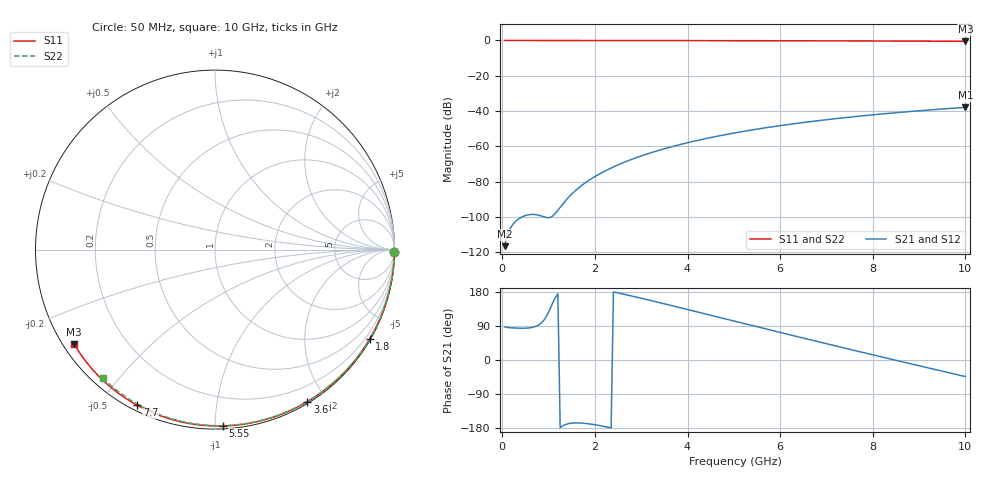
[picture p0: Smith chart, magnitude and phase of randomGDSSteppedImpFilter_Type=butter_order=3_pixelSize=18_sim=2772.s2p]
! freq	dB(S11)	phase(S11)	dB(S12)	phase(S12)
!  dB(S21)	phase(S21)	dB(S22)	phase(S22)
!S-par simulation data
#  GHz  S  DB  R 50
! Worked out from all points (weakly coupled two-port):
!   200 points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, 50 MHz to 10 GHz, reference 50 ohm
!   highest |S21| = -37.91 dB at 10 GHz (marker M1); lowest = -116.6 dB at 50 MHz (marker M2)
!   lowest |S11| = -0.5 dB at 10 GHz (marker M3), VSWR 35.16, Z = 1.55 - j15.2 ohm
!   |S11| at or under -10 dB: nowhere
!   |S22| runs from -0.4 to 0.0 dB; largest |S21 - S12| = 0
!   S11 on the Smith chart (normalised r, x): 50 MHz: open; 1.8 GHz: 0.03, -3.72; 3.6 GHz: 0.02, -1.78; 5.55 GHz: 0.02, -1.05; 7.7 GHz: 0.02, -0.62; 10 GHz: 0.03, -0.30
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0.05  -0.00 -0.9  -116.57 87.5  -116.57 87.5  -0.00 -0.8
0.45  -0.01 -7.6  -99.69 83.8  -99.69 83.8  -0.01 -6.8
0.9  -0.02 -15.2  -99.95 105.5  -99.95 105.5  -0.02 -13.6
1.3  -0.03 -21.9  -92.79 -174.2  -92.79 -174.2  -0.02 -19.5
1.75  -0.04 -29.3  -81.46 -166.8  -81.46 -166.8  -0.03 -26.1
1.8  -0.04 -30.1  -80.51 -167.5  -80.51 -167.5  -0.03 -26.9
1.85  -0.04 -30.9  -79.61 -168.2  -79.61 -168.2  -0.04 -27.6
2.05  -0.04 -34.2  -76.35 -172.0  -76.35 -172.0  -0.04 -30.5
2.2  -0.05 -36.6  -74.22 -175.4  -74.22 -175.4  -0.04 -32.7
2.55  -0.05 -42.3  -69.92 175.7  -69.92 175.7  -0.05 -37.7
2.95  -0.06 -48.6  -65.87 164.4  -65.87 164.4  -0.06 -43.4
3.4  -0.07 -55.6  -62.09 151.2  -62.09 151.2  -0.07 -49.8
3.6  -0.08 -58.7  -60.60 145.3  -60.60 145.3  -0.07 -52.5
4.3  -0.10 -69.3  -56.12 124.2  -56.12 124.2  -0.09 -62.1
5.05  -0.12 -80.3  -52.24 101.4  -52.24 101.4  -0.11 -72.0
5.55  -0.14 -87.4  -50.04 86.3  -50.04 86.3  -0.13 -78.5
6.1  -0.17 -95.1  -47.90 69.8  -47.90 69.8  -0.15 -85.4
6.7  -0.20 -103.3  -45.84 51.9  -45.84 51.9  -0.18 -92.8
7.7  -0.27 -116.6  -42.91 22.4  -42.91 22.4  -0.24 -104.8
8.35  -0.32 -125.0  -41.29 3.5  -41.29 3.5  -0.29 -112.4
9.2  -0.40 -135.9  -39.42 -20.9  -39.42 -20.9  -0.36 -122.1
10  -0.49 -146.2  -37.91 -43.7  -37.91 -43.7  -0.44 -131.1
